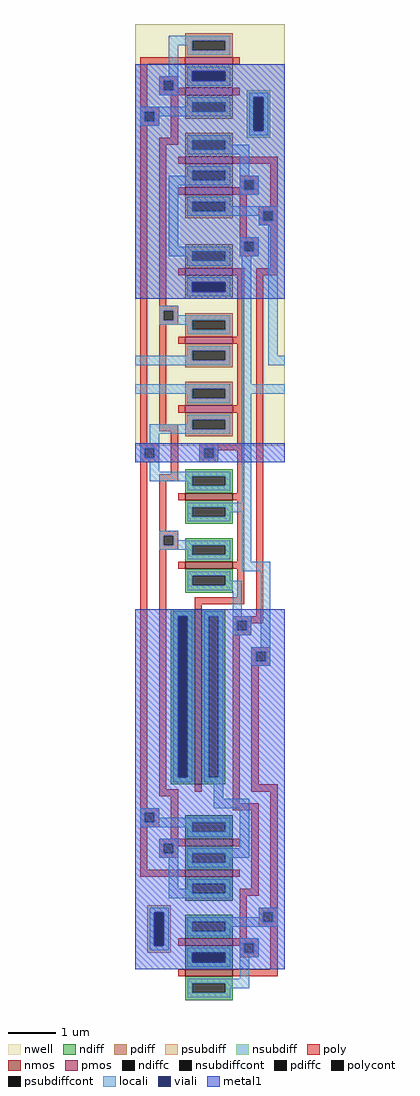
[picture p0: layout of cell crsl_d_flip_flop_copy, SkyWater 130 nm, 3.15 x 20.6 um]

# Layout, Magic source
magic
tech sky130A
<< nwell >>
rect -85 -345 230 545
<< nmos >>
rect 20 -460 120 -445
rect 20 -605 120 -590
rect 40 -1060 55 -690
rect 20 -1190 120 -1175
rect 20 -1255 120 -1240
rect 20 -1400 120 -1385
rect 20 -1465 120 -1450
<< pmos >>
rect 20 460 120 475
rect 20 395 120 410
rect 20 250 120 265
rect 20 185 120 200
rect 20 15 120 30
rect 20 -130 120 -115
rect 20 -275 120 -260
<< ndiff >>
rect 20 -410 120 -395
rect 20 -430 35 -410
rect 105 -430 120 -410
rect 20 -445 120 -430
rect 20 -475 120 -460
rect 20 -495 35 -475
rect 105 -495 120 -475
rect 20 -510 120 -495
rect 20 -555 120 -540
rect 20 -575 35 -555
rect 105 -575 120 -555
rect 20 -590 120 -575
rect 20 -620 120 -605
rect 20 -640 35 -620
rect 105 -640 120 -620
rect 20 -655 120 -640
rect -10 -705 40 -690
rect -10 -1045 5 -705
rect 25 -1045 40 -705
rect -10 -1060 40 -1045
rect 55 -705 105 -690
rect 55 -1045 70 -705
rect 90 -1045 105 -705
rect 55 -1060 105 -1045
rect 20 -1140 120 -1125
rect 20 -1160 35 -1140
rect 105 -1160 120 -1140
rect 20 -1175 120 -1160
rect 20 -1205 120 -1190
rect 20 -1225 35 -1205
rect 105 -1225 120 -1205
rect 20 -1240 120 -1225
rect 20 -1270 120 -1255
rect 20 -1290 35 -1270
rect 105 -1290 120 -1270
rect 20 -1305 120 -1290
rect 20 -1350 120 -1335
rect 20 -1370 35 -1350
rect 105 -1370 120 -1350
rect 20 -1385 120 -1370
rect 20 -1415 120 -1400
rect 20 -1435 35 -1415
rect 105 -1435 120 -1415
rect 20 -1450 120 -1435
rect 20 -1480 120 -1465
rect 20 -1500 35 -1480
rect 105 -1500 120 -1480
rect 20 -1515 120 -1500
<< pdiff >>
rect 20 510 120 525
rect 20 490 35 510
rect 105 490 120 510
rect 20 475 120 490
rect 20 445 120 460
rect 20 425 35 445
rect 105 425 120 445
rect 20 410 120 425
rect 20 380 120 395
rect 20 360 35 380
rect 105 360 120 380
rect 20 345 120 360
rect 20 300 120 315
rect 20 280 35 300
rect 105 280 120 300
rect 20 265 120 280
rect 20 235 120 250
rect 20 215 35 235
rect 105 215 120 235
rect 20 200 120 215
rect 20 170 120 185
rect 20 150 35 170
rect 105 150 120 170
rect 20 135 120 150
rect 20 65 120 80
rect 20 45 35 65
rect 105 45 120 65
rect 20 30 120 45
rect 20 0 120 15
rect 20 -20 35 0
rect 105 -20 120 0
rect 20 -35 120 -20
rect 20 -80 120 -65
rect 20 -100 35 -80
rect 105 -100 120 -80
rect 20 -115 120 -100
rect 20 -145 120 -130
rect 20 -165 35 -145
rect 105 -165 120 -145
rect 20 -180 120 -165
rect 20 -225 120 -210
rect 20 -245 35 -225
rect 105 -245 120 -225
rect 20 -260 120 -245
rect 20 -290 120 -275
rect 20 -310 35 -290
rect 105 -310 120 -290
rect 20 -325 120 -310
<< ndiffc >>
rect 35 -430 105 -410
rect 35 -495 105 -475
rect 35 -575 105 -555
rect 35 -640 105 -620
rect 5 -1045 25 -705
rect 70 -1045 90 -705
rect 35 -1160 105 -1140
rect 35 -1225 105 -1205
rect 35 -1290 105 -1270
rect 35 -1370 105 -1350
rect 35 -1435 105 -1415
rect 35 -1500 105 -1480
<< pdiffc >>
rect 35 490 105 510
rect 35 425 105 445
rect 35 360 105 380
rect 35 280 105 300
rect 35 215 105 235
rect 35 150 105 170
rect 35 45 105 65
rect 35 -20 105 0
rect 35 -100 105 -80
rect 35 -165 105 -145
rect 35 -245 105 -225
rect 35 -310 105 -290
<< psubdiff >>
rect -60 -1330 -10 -1315
rect -60 -1400 -45 -1330
rect -25 -1400 -10 -1330
rect -60 -1415 -10 -1400
<< nsubdiff >>
rect 150 390 200 405
rect 150 320 165 390
rect 185 320 200 390
rect 150 305 200 320
<< psubdiffcont >>
rect -45 -1400 -25 -1330
<< nsubdiffcont >>
rect 165 320 185 390
<< poly >>
rect -75 460 20 475
rect 120 460 135 475
rect -75 370 -60 460
rect -35 425 5 435
rect -35 405 -25 425
rect -5 410 5 425
rect -5 405 20 410
rect -35 395 20 405
rect 120 395 135 410
rect -75 360 -35 370
rect -75 340 -65 360
rect -45 340 -35 360
rect -75 330 -35 340
rect -75 -340 -60 330
rect -10 305 5 395
rect -35 290 5 305
rect -35 -50 -20 290
rect 5 250 20 265
rect 120 250 215 265
rect 135 215 175 225
rect 135 200 145 215
rect 5 185 20 200
rect 120 195 145 200
rect 165 195 175 215
rect 120 185 175 195
rect 135 95 150 185
rect 200 160 215 250
rect 175 150 215 160
rect 175 130 185 150
rect 205 130 215 150
rect 175 120 215 130
rect 135 85 175 95
rect 135 65 145 85
rect 165 65 175 85
rect 135 55 175 65
rect 200 30 215 120
rect 5 15 20 30
rect 120 15 145 30
rect -35 -60 5 -50
rect -35 -80 -25 -60
rect -5 -80 5 -60
rect -35 -90 5 -80
rect -35 -300 -20 -90
rect 130 -115 145 15
rect 5 -130 20 -115
rect 120 -130 145 -115
rect 130 -260 145 -130
rect 5 -275 20 -260
rect 120 -275 145 -260
rect -35 -315 5 -300
rect -75 -350 -35 -340
rect -75 -370 -65 -350
rect -45 -370 -35 -350
rect -75 -380 -35 -370
rect -75 -1110 -60 -380
rect -10 -405 5 -315
rect 130 -340 145 -275
rect 50 -350 145 -340
rect 50 -370 60 -350
rect 80 -355 145 -350
rect 80 -370 90 -355
rect 50 -380 90 -370
rect -35 -420 5 -405
rect -35 -525 -20 -420
rect 130 -445 145 -355
rect 5 -460 20 -445
rect 120 -460 145 -445
rect -35 -535 5 -525
rect -35 -555 -25 -535
rect -5 -555 5 -535
rect -35 -565 5 -555
rect -35 -1070 -20 -565
rect 130 -590 145 -460
rect 5 -605 20 -590
rect 120 -605 145 -590
rect 130 -665 145 -605
rect 40 -680 145 -665
rect 170 15 215 30
rect 40 -690 55 -680
rect 170 -705 185 15
rect 120 -715 185 -705
rect 120 -735 130 -715
rect 150 -720 185 -715
rect 150 -735 160 -720
rect 120 -745 160 -735
rect -35 -1085 5 -1070
rect 40 -1075 55 -1060
rect -75 -1120 -35 -1110
rect -75 -1140 -65 -1120
rect -45 -1140 -35 -1120
rect -75 -1150 -35 -1140
rect -75 -1240 -60 -1150
rect -10 -1175 5 -1085
rect 120 -1100 135 -745
rect 160 -780 200 -770
rect 160 -800 170 -780
rect 190 -800 200 -780
rect 160 -810 200 -800
rect 160 -1060 175 -810
rect 160 -1075 215 -1060
rect 120 -1115 175 -1100
rect -35 -1185 20 -1175
rect -35 -1205 -25 -1185
rect -5 -1190 20 -1185
rect 120 -1190 135 -1175
rect -5 -1205 5 -1190
rect -35 -1215 5 -1205
rect -75 -1255 20 -1240
rect 120 -1255 135 -1240
rect 160 -1280 175 -1115
rect 135 -1295 175 -1280
rect 135 -1385 150 -1295
rect 200 -1320 215 -1075
rect 175 -1330 215 -1320
rect 175 -1350 185 -1330
rect 205 -1350 215 -1330
rect 175 -1360 215 -1350
rect 5 -1400 20 -1385
rect 120 -1395 175 -1385
rect 120 -1400 145 -1395
rect 135 -1415 145 -1400
rect 165 -1415 175 -1395
rect 135 -1425 175 -1415
rect 200 -1450 215 -1360
rect 5 -1465 20 -1450
rect 120 -1465 215 -1450
<< polycont >>
rect -25 405 -5 425
rect -65 340 -45 360
rect 145 195 165 215
rect 185 130 205 150
rect 145 65 165 85
rect -25 -80 -5 -60
rect -65 -370 -45 -350
rect 60 -370 80 -350
rect -25 -555 -5 -535
rect 130 -735 150 -715
rect -65 -1140 -45 -1120
rect 170 -800 190 -780
rect -25 -1205 -5 -1185
rect 185 -1350 205 -1330
rect 145 -1415 165 -1395
<< locali >>
rect -15 510 115 520
rect -15 500 35 510
rect -15 435 5 500
rect 25 490 35 500
rect 105 490 115 510
rect 25 480 115 490
rect -35 425 5 435
rect -35 405 -25 425
rect -5 405 5 425
rect 25 445 115 455
rect 25 425 35 445
rect 105 425 115 445
rect 25 415 115 425
rect -35 395 5 405
rect 155 390 195 400
rect 25 380 115 390
rect 25 370 35 380
rect -75 360 35 370
rect 105 360 115 380
rect -75 340 -65 360
rect -45 350 115 360
rect -45 340 -35 350
rect -75 330 -35 340
rect 155 320 165 390
rect 185 320 195 390
rect 155 310 195 320
rect 25 300 115 310
rect 25 280 35 300
rect 105 290 115 300
rect 105 280 155 290
rect 25 270 155 280
rect 25 235 115 245
rect 25 225 35 235
rect -15 215 35 225
rect 105 215 115 235
rect -15 205 115 215
rect 135 225 155 270
rect 135 215 175 225
rect -15 75 5 205
rect 135 195 145 215
rect 165 195 175 215
rect 135 185 175 195
rect 25 170 115 180
rect 25 150 35 170
rect 105 160 115 170
rect 105 150 215 160
rect 25 140 185 150
rect 175 130 185 140
rect 205 130 215 150
rect 175 120 215 130
rect 135 85 175 95
rect -15 65 115 75
rect -15 55 35 65
rect 25 45 35 55
rect 105 45 115 65
rect 135 65 145 85
rect 165 65 175 85
rect 135 55 175 65
rect 25 35 115 45
rect 25 0 115 10
rect 25 -20 35 0
rect 105 -20 115 0
rect 25 -30 115 -20
rect -35 -60 5 -50
rect -35 -80 -25 -60
rect -5 -70 5 -60
rect -5 -80 115 -70
rect -35 -90 35 -80
rect 25 -100 35 -90
rect 105 -100 115 -80
rect 25 -110 115 -100
rect 25 -145 115 -135
rect 25 -155 35 -145
rect -85 -165 35 -155
rect 105 -165 115 -145
rect -85 -175 115 -165
rect 140 -215 160 55
rect 195 -155 215 120
rect 195 -175 230 -155
rect -85 -225 115 -215
rect -85 -235 35 -225
rect 25 -245 35 -235
rect 105 -245 115 -225
rect 25 -255 115 -245
rect 140 -235 230 -215
rect 25 -290 115 -280
rect 25 -300 35 -290
rect -55 -310 35 -300
rect 105 -310 115 -290
rect -55 -320 115 -310
rect -55 -340 -35 -320
rect -75 -350 -35 -340
rect -75 -370 -65 -350
rect -45 -370 -35 -350
rect -75 -380 -35 -370
rect 50 -350 90 -340
rect 50 -370 60 -350
rect 80 -370 90 -350
rect 50 -380 90 -370
rect -55 -400 -35 -380
rect -55 -410 115 -400
rect -55 -420 35 -410
rect 25 -430 35 -420
rect 105 -430 115 -410
rect 25 -440 115 -430
rect 140 -465 160 -235
rect 25 -475 160 -465
rect 25 -495 35 -475
rect 105 -485 160 -475
rect 105 -495 115 -485
rect 25 -505 115 -495
rect -35 -535 5 -525
rect -35 -555 -25 -535
rect -5 -545 5 -535
rect -5 -555 115 -545
rect -35 -565 35 -555
rect 25 -575 35 -565
rect 105 -575 115 -555
rect 25 -585 115 -575
rect 140 -590 160 -485
rect 140 -610 200 -590
rect 25 -620 115 -610
rect 25 -640 35 -620
rect 105 -630 115 -620
rect 105 -640 140 -630
rect 25 -650 140 -640
rect -5 -705 35 -695
rect -5 -1045 5 -705
rect 25 -1045 35 -705
rect -5 -1055 35 -1045
rect 60 -705 100 -695
rect 60 -1045 70 -705
rect 90 -1045 100 -705
rect 120 -705 140 -650
rect 120 -715 160 -705
rect 120 -735 130 -715
rect 150 -735 160 -715
rect 120 -745 160 -735
rect 180 -770 200 -610
rect 160 -780 200 -770
rect 160 -800 170 -780
rect 190 -800 200 -780
rect 160 -810 200 -800
rect 60 -1055 100 -1045
rect 80 -1090 100 -1055
rect 80 -1110 155 -1090
rect -75 -1120 -35 -1110
rect -75 -1140 -65 -1120
rect -45 -1130 -35 -1120
rect -45 -1140 115 -1130
rect -75 -1150 35 -1140
rect 25 -1160 35 -1150
rect 105 -1160 115 -1140
rect 25 -1170 115 -1160
rect -35 -1185 5 -1175
rect -35 -1205 -25 -1185
rect -5 -1205 5 -1185
rect 135 -1195 155 -1110
rect -35 -1215 5 -1205
rect -15 -1280 5 -1215
rect 25 -1205 155 -1195
rect 25 -1225 35 -1205
rect 105 -1215 155 -1205
rect 105 -1225 115 -1215
rect 25 -1235 115 -1225
rect 25 -1270 115 -1260
rect 25 -1280 35 -1270
rect -15 -1290 35 -1280
rect 105 -1290 115 -1270
rect -15 -1300 115 -1290
rect -55 -1330 -15 -1320
rect -55 -1400 -45 -1330
rect -25 -1400 -15 -1330
rect 175 -1330 215 -1320
rect 175 -1340 185 -1330
rect 25 -1350 185 -1340
rect 205 -1350 215 -1330
rect 25 -1370 35 -1350
rect 105 -1360 215 -1350
rect 105 -1370 115 -1360
rect 25 -1380 115 -1370
rect -55 -1410 -15 -1400
rect 135 -1395 175 -1385
rect 25 -1415 115 -1405
rect 25 -1435 35 -1415
rect 105 -1435 115 -1415
rect 25 -1445 115 -1435
rect 135 -1415 145 -1395
rect 165 -1415 175 -1395
rect 135 -1425 175 -1415
rect 135 -1470 155 -1425
rect 25 -1480 155 -1470
rect 25 -1500 35 -1480
rect 105 -1490 155 -1480
rect 105 -1500 115 -1490
rect 25 -1510 115 -1500
<< viali >>
rect 35 425 105 445
rect 165 320 185 390
rect 35 -20 105 0
rect 5 -1045 25 -705
rect -45 -1400 -25 -1330
rect 35 -1435 105 -1415
<< metal1 >>
rect -85 445 230 460
rect -85 425 35 445
rect 105 425 230 445
rect -85 390 230 425
rect -85 320 165 390
rect 185 320 230 390
rect -85 0 230 320
rect -85 -20 35 0
rect 105 -20 230 0
rect -85 -35 230 -20
rect -85 -380 230 -340
rect -85 -705 230 -690
rect -85 -1045 5 -705
rect 25 -1045 230 -705
rect -85 -1330 230 -1045
rect -85 -1400 -45 -1330
rect -25 -1400 230 -1330
rect -85 -1415 230 -1400
rect -85 -1435 35 -1415
rect 105 -1435 230 -1415
rect -85 -1450 230 -1435
<< end >>
